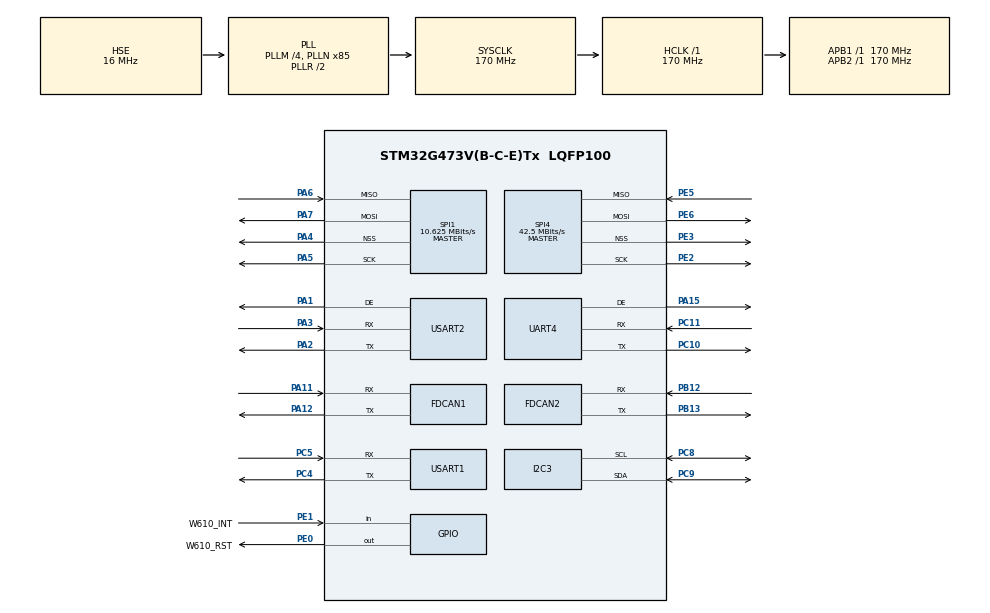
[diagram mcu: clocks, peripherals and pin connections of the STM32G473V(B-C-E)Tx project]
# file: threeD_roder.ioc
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FDCAN1.AutoRetransmission=ENABLE
FDCAN1.CalculateBaudRateNominal=499999
FDCAN1.CalculateTimeBitNominal=2000
FDCAN1.CalculateTimeQuantumNominal=117.64705882352942
FDCAN1.DataSyncJumpWidth=2
FDCAN1.NominalPrescaler=20
FDCAN1.NominalTimeSeg1=14
FDCAN1.NominalTimeSeg2=2
FDCAN2.AutoRetransmission=ENABLE
FDCAN2.CalculateBaudRateNominal=499999
FDCAN2.CalculateTimeBitNominal=2000
FDCAN2.CalculateTimeQuantumNominal=117.64705882352942
FDCAN2.NominalPrescaler=20
FDCAN2.NominalTimeSeg1=14
FDCAN2.NominalTimeSeg2=2
FREERTOS.Queues01=MotorQueue,4,uint16_t,0,Dynamic,NULL,NULL
FREERTOS.Tasks01=Event_Task,40,256,Start_Event_Task,Default,NULL,Dynamic,NULL,NULL;Motor_Task,32,512,Start_Motor_Task,Default,NULL,Dynamic,NULL,NULL;Comm_Task,24,1024,Start_Comm_Task,Default,NULL,Dynamic,NULL,NULL
FREERTOS.configTOTAL_HEAP_SIZE=20480
FREERTOS.configUSE_NEWLIB_REENTRANT=1
I2C3.Timing=0x40B285C2
Mcu.Family=STM32G4
Mcu.Name=STM32G473V(B-C-E)Tx
Mcu.Package=LQFP100
NVIC.FDCAN1_IT0_IRQn=true\:5\:0\:false\:false\:true\:true\:true\:true\:true
NVIC.FDCAN2_IT0_IRQn=true\:5\:0\:false\:false\:true\:true\:true\:true\:true
NVIC.PriorityGroup=NVIC_PRIORITYGROUP_4
NVIC.TIM6_DAC_IRQn=true\:15\:0\:false\:false\:true\:false\:false\:true\:true
NVIC.TimeBase=TIM6_DAC_IRQn
NVIC.TimeBaseIP=TIM6
PA1.Mode=Hardware Flow Control (RS485)
PA1.Signal=USART2_DE
PA11.Mode=FDCAN_Activate
PA11.Signal=FDCAN1_RX
PA12.Mode=FDCAN_Activate
PA12.Signal=FDCAN1_TX
PA13.Mode=Serial_Wire
PA13.Signal=SYS_JTMS-SWDIO
PA14.Mode=Serial_Wire
PA14.Signal=SYS_JTCK-SWCLK
PA15.Mode=Hardware Flow Control (RS485)
PA15.Signal=UART4_DE
PA2.Mode=Asynchronous
PA2.Signal=USART2_TX
PA3.Mode=Asynchronous
PA3.Signal=USART2_RX
PA4.GPIO_PuPd=GPIO_PULLUP
PA4.GPIO_Speed=GPIO_SPEED_FREQ_VERY_HIGH
PA4.Mode=NSS_Signal_Hard_Output
PA4.Signal=SPI1_NSS
PA5.GPIO_Speed=GPIO_SPEED_FREQ_VERY_HIGH
PA5.Mode=Full_Duplex_Master
PA5.Signal=SPI1_SCK
PA6.GPIO_Speed=GPIO_SPEED_FREQ_VERY_HIGH
PA6.Mode=Full_Duplex_Master
PA6.Signal=SPI1_MISO
PA7.GPIO_Speed=GPIO_SPEED_FREQ_VERY_HIGH
PA7.Mode=Full_Duplex_Master
PA7.Signal=SPI1_MOSI
PB12.Mode=FDCAN_Activate
PB12.Signal=FDCAN2_RX
PB13.Mode=FDCAN_Activate
PB13.Signal=FDCAN2_TX
PC10.Mode=Asynchronous
PC10.Signal=UART4_TX
PC11.Mode=Asynchronous
PC11.Signal=UART4_RX
PC4.Mode=Asynchronous
PC4.Signal=USART1_TX
PC5.Mode=Asynchronous
PC5.Signal=USART1_RX
PC8.Mode=I2C
PC8.Signal=I2C3_SCL
PC9.Mode=I2C
PC9.Signal=I2C3_SDA
PE0.GPIO_Label=W610_RST
PE0.PinState=GPIO_PIN_SET
PE0.Signal=GPIO_Output
PE1.GPIO_Label=W610_INT
PE1.Signal=GPIO_Input
PE2.GPIO_Speed=GPIO_SPEED_FREQ_VERY_HIGH
PE2.Mode=Full_Duplex_Master
PE2.Signal=SPI4_SCK
PE3.GPIO_PuPd=GPIO_PULLUP
PE3.GPIO_Speed=GPIO_SPEED_FREQ_VERY_HIGH
PE3.Mode=NSS_Signal_Hard_Output
PE3.Signal=SPI4_NSS
PE5.GPIO_Speed=GPIO_SPEED_FREQ_VERY_HIGH
PE5.Mode=Full_Duplex_Master
PE5.Signal=SPI4_MISO
PE6.GPIO_Speed=GPIO_SPEED_FREQ_VERY_HIGH
PE6.Mode=Full_Duplex_Master
PE6.Signal=SPI4_MOSI
PF0-OSC_IN.Mode=HSE-External-Oscillator
PF0-OSC_IN.Signal=RCC_OSC_IN
PF1-OSC_OUT.Mode=HSE-External-Oscillator
PF1-OSC_OUT.Signal=RCC_OSC_OUT
ProjectManager.HeapSize=0x200
ProjectManager.StackSize=0x400
ProjectManager.TargetToolchain=STM32CubeIDE
RCC.ADC12Freq_Value=170000000
RCC.ADC345Freq_Value=170000000
RCC.AHBFreq_Value=170000000
RCC.APB1Freq_Value=170000000
RCC.APB1TimFreq_Value=170000000
RCC.APB2Freq_Value=170000000
RCC.APB2TimFreq_Value=170000000
RCC.CortexFreq_Value=170000000
RCC.EXTERNAL_CLOCK_VALUE=12288000
RCC.HCLKFreq_Value=170000000
RCC.HSE_VALUE=16000000
RCC.HSI48_VALUE=48000000
RCC.HSI_VALUE=16000000
RCC.LSE_VALUE=32768
RCC.PLLM=RCC_PLLM_DIV4
RCC.PLLN=85
RCC.PLLSourceVirtual=RCC_PLLSOURCE_HSE
RCC.SYSCLKFreq_VALUE=170000000
RCC.SYSCLKSource=RCC_SYSCLKSOURCE_PLLCLK
RCC.USBFreq_Value=170000000
RCC.VCOOutputFreq_Value=340000000
SPI1.BaudRatePrescaler=SPI_BAUDRATEPRESCALER_16
SPI1.CalculateBaudRate=10.625 MBits/s
SPI1.DataSize=SPI_DATASIZE_8BIT
SPI1.Direction=SPI_DIRECTION_2LINES
SPI1.Mode=SPI_MODE_MASTER
SPI1.NSSPMode=SPI_NSS_PULSE_DISABLE
SPI1.VirtualNSS=VM_NSSHARD
SPI1.VirtualType=VM_MASTER
SPI4.BaudRatePrescaler=SPI_BAUDRATEPRESCALER_4
SPI4.CalculateBaudRate=42.5 MBits/s
SPI4.DataSize=SPI_DATASIZE_8BIT
SPI4.Direction=SPI_DIRECTION_2LINES
SPI4.Mode=SPI_MODE_MASTER
SPI4.NSSPMode=SPI_NSS_PULSE_DISABLE
SPI4.VirtualNSS=VM_NSSHARD
SPI4.VirtualType=VM_MASTER
USART1.VirtualMode-Asynchronous=VM_ASYNC
USART2.VirtualMode-Asynchronous=VM_ASYNC
USART2.VirtualMode-Hardware\ Flow\ Control\ (RS485)=VM_ASYNC
VP_FREERTOS_VS_CMSIS_V2.Mode=CMSIS_V2
VP_SYS_VS_DBSignals.Mode=DisableDeadBatterySignals
VP_SYS_VS_tim6.Mode=TIM6
board=custom

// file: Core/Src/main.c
/* USER CODE BEGIN Header */
/**
  ******************************************************************************
  * @file           : main.c
  * @brief          : Main program body
  ******************************************************************************
  * @attention
  *
  * Copyright (c) 2026 STMicroelectronics.
  * All rights reserved.
  *
  * This software is licensed under terms that can be found in the LICENSE file
  * in the root directory of this software component.
  * If no LICENSE file comes with this software, it is provided AS-IS.
  *
  ******************************************************************************
  */
/* USER CODE END Header */
#include "main.h"
#include "cmsis_os.h"
#include "fdcan.h"
#include "i2c.h"
#include "spi.h"
#include "usart.h"
#include "gpio.h"

void SystemClock_Config(void);
void MX_FREERTOS_Init(void);

int main(void)
{

  /* MCU Configuration--------------------------------------------------------*/

  /* Reset of all peripherals, Initializes the Flash interface and the Systick. */
  HAL_Init();

  /* Configure the system clock */
  SystemClock_Config();

  /* Initialize all configured peripherals */
  MX_GPIO_Init();
  MX_UART4_Init();
  MX_USART1_UART_Init();
  MX_FDCAN1_Init();
  MX_I2C3_Init();
  MX_SPI1_Init();
  MX_SPI4_Init();
  MX_USART2_UART_Init();
  MX_FDCAN2_Init();

  /* Init scheduler */
  osKernelInitialize();  /* Call init function for freertos objects (in cmsis_os2.c) */
  MX_FREERTOS_Init();

  /* Start scheduler */
  osKernelStart();

  /* We should never get here as control is now taken by the scheduler */

  /* Infinite loop */
  while (1)
  {

  }
}

void SystemClock_Config(void)
{
  RCC_OscInitTypeDef RCC_OscInitStruct = {0};
  RCC_ClkInitTypeDef RCC_ClkInitStruct = {0};

  /** Configure the main internal regulator output voltage
  */
  HAL_PWREx_ControlVoltageScaling(PWR_REGULATOR_VOLTAGE_SCALE1_BOOST);

  /** Initializes the RCC Oscillators according to the specified parameters
  * in the RCC_OscInitTypeDef structure.
  */
  RCC_OscInitStruct.OscillatorType = RCC_OSCILLATORTYPE_HSE;
  RCC_OscInitStruct.HSEState = RCC_HSE_ON;
  RCC_OscInitStruct.PLL.PLLState = RCC_PLL_ON;
  RCC_OscInitStruct.PLL.PLLSource = RCC_PLLSOURCE_HSE;
  RCC_OscInitStruct.PLL.PLLM = RCC_PLLM_DIV4;
  RCC_OscInitStruct.PLL.PLLN = 85;
  RCC_OscInitStruct.PLL.PLLP = RCC_PLLP_DIV2;
  RCC_OscInitStruct.PLL.PLLQ = RCC_PLLQ_DIV2;
  RCC_OscInitStruct.PLL.PLLR = RCC_PLLR_DIV2;
  if (HAL_RCC_OscConfig(&RCC_OscInitStruct) != HAL_OK)
  {
    Error_Handler();
  }

  /** Initializes the CPU, AHB and APB buses clocks
  */
  RCC_ClkInitStruct.ClockType = RCC_CLOCKTYPE_HCLK|RCC_CLOCKTYPE_SYSCLK
                              |RCC_CLOCKTYPE_PCLK1|RCC_CLOCKTYPE_PCLK2;
  RCC_ClkInitStruct.SYSCLKSource = RCC_SYSCLKSOURCE_PLLCLK;
  RCC_ClkInitStruct.AHBCLKDivider = RCC_SYSCLK_DIV1;
  RCC_ClkInitStruct.APB1CLKDivider = RCC_HCLK_DIV1;
  RCC_ClkInitStruct.APB2CLKDivider = RCC_HCLK_DIV1;

  if (HAL_RCC_ClockConfig(&RCC_ClkInitStruct, FLASH_LATENCY_4) != HAL_OK)
  {
    Error_Handler();
  }
}

void HAL_TIM_PeriodElapsedCallback(TIM_HandleTypeDef *htim)
{
  if (htim->Instance == TIM6)
  {
    HAL_IncTick();
  }
}

void Error_Handler(void)
{
  __disable_irq();
  while (1)
  {
  }
}

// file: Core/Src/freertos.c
/* USER CODE BEGIN Header */
/**
  ******************************************************************************
  * File Name          : freertos.c
  * Description        : Code for freertos applications
  ******************************************************************************
  * @attention
  *
  * Copyright (c) 2026 STMicroelectronics.
  * All rights reserved.
  *
  * This software is licensed under terms that can be found in the LICENSE file
  * in the root directory of this software component.
  * If no LICENSE file comes with this software, it is provided AS-IS.
  *
  ******************************************************************************
  */
/* USER CODE END Header */

#include "FreeRTOS.h"
#include "task.h"
#include "main.h"
#include "cmsis_os.h"

/* USER CODE BEGIN Includes */
#include "net.h"
#include "rfid.h"
#include "can.h"
/* USER CODE END Includes */

/* Definitions for MOTOR_Task */
osThreadId_t MOTOR_TaskHandle;
const osThreadAttr_t MOTOR_Task_attributes = {
  .name = "MOTOR_Task",
  .stack_size = 1024 * 4,
  .priority = (osPriority_t) osPriorityAboveNormal,
};
/* Definitions for NET_Task */
osThreadId_t NET_TaskHandle;
const osThreadAttr_t NET_Task_attributes = {
  .name = "NET_Task",
  .stack_size = 1024 * 4,
  .priority = (osPriority_t) osPriorityNormal,
};
/* Definitions for RFID */
osThreadId_t RFIDHandle;
const osThreadAttr_t RFID_attributes = {
  .name = "RFID",
  .stack_size = 1024 * 4,
  .priority = (osPriority_t) osPriorityNormal,
};
/* Definitions for TCPQueue */
osMessageQueueId_t TCPQueueHandle;
const osMessageQueueAttr_t TCPQueue_attributes = {
  .name = "TCPQueue"
};
/* Definitions for TCPMutex */
osMutexId_t TCPMutexHandle;
const osMutexAttr_t TCPMutex_attributes = {
  .name = "TCPMutex"
};

void StartMOTOR_Task(void *argument);
void StartNET_Task(void *argument);
void StartRFID_Task(void *argument);

void MX_FREERTOS_Init(void); /* (MISRA C 2004 rule 8.1) */

void MX_FREERTOS_Init(void) {
  /* Create the mutex(es) */
  /* creation of TCPMutex */
  TCPMutexHandle = osMutexNew(&TCPMutex_attributes);

  /* Create the queue(s) */
  /* creation of TCPQueue */
  TCPQueueHandle = osMessageQueueNew (512, sizeof(uint8_t), &TCPQueue_attributes);

  /* USER CODE BEGIN RTOS_QUEUES */
  /* add queues, ... */
	CAN1_Start();
  /* USER CODE END RTOS_QUEUES */

  /* Create the thread(s) */
  /* creation of MOTOR_Task */
  MOTOR_TaskHandle = osThreadNew(StartMOTOR_Task, NULL, &MOTOR_Task_attributes);

  /* creation of NET_Task */
  NET_TaskHandle = osThreadNew(StartNET_Task, NULL, &NET_Task_attributes);

  /* creation of RFID */
  RFIDHandle = osThreadNew(StartRFID_Task, NULL, &RFID_attributes);

}

void StartMOTOR_Task(void *argument)
{
  /* USER CODE BEGIN StartMOTOR_Task */
  MOTOR_TaskRun(argument);
  /* USER CODE END StartMOTOR_Task */
}

void StartNET_Task(void *argument)
{
  /* USER CODE BEGIN StartNET_Task */
  /* Infinite loop */
	TM_TaskRun(argument);
  /* USER CODE END StartNET_Task */
}

void StartRFID_Task(void *argument)
{
  /* USER CODE BEGIN StartRFID_Task */
  /* Infinite loop */
	 Rfid_Run();
  /* USER CODE END StartRFID_Task */
}

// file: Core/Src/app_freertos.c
/* USER CODE BEGIN Header */
/**
  ******************************************************************************
  * File Name          : app_freertos.c
  * Description        : Code for freertos applications
  ******************************************************************************
  * @attention
  *
  * Copyright (c) 2026 STMicroelectronics.
  * All rights reserved.
  *
  * This software is licensed under terms that can be found in the LICENSE file
  * in the root directory of this software component.
  * If no LICENSE file comes with this software, it is provided AS-IS.
  *
  ******************************************************************************
  */
/* USER CODE END Header */

#include "FreeRTOS.h"
#include "task.h"
#include "main.h"
#include "cmsis_os.h"

/* USER CODE BEGIN Includes */
#include "run.h"
#include "cli.h"
#include "net.h"
#include "fram.h"
#include "save.h"
#include "hmi.h"
/* USER CODE END Includes */

/* Definitions for Event_Task */
osThreadId_t Event_TaskHandle;
const osThreadAttr_t Event_Task_attributes = {
  .name = "Event_Task",
  .priority = (osPriority_t) osPriorityHigh,
  .stack_size = 256 * 4
};
/* Definitions for Motor_Task */
osThreadId_t Motor_TaskHandle;
const osThreadAttr_t Motor_Task_attributes = {
  .name = "Motor_Task",
  .priority = (osPriority_t) osPriorityAboveNormal,
  .stack_size = 512 * 4
};
/* Definitions for Comm_Task */
osThreadId_t Comm_TaskHandle;
const osThreadAttr_t Comm_Task_attributes = {
  .name = "Comm_Task",
  .priority = (osPriority_t) osPriorityNormal,
  .stack_size = 1024 * 4
};
/* Definitions for MotorQueue */
osMessageQueueId_t MotorQueueHandle;
const osMessageQueueAttr_t MotorQueue_attributes = {
  .name = "MotorQueue"
};

void Start_Event_Task(void *argument);
void Start_Motor_Task(void *argument);
void Start_Comm_Task(void *argument);

void MX_FREERTOS_Init(void); /* (MISRA C 2004 rule 8.1) */

void MX_FREERTOS_Init(void) {

  /* Create the queue(s) */
  /* creation of MotorQueue */
  MotorQueueHandle = osMessageQueueNew (4, sizeof(uint16_t), &MotorQueue_attributes);

  /* USER CODE BEGIN RTOS_QUEUES */
  MotorQueueHandle = osMessageQueueNew(4, sizeof(MotorCommand), NULL);
  /* USER CODE END RTOS_QUEUES */

  /* Create the thread(s) */
  /* creation of Event_Task */
  Event_TaskHandle = osThreadNew(Start_Event_Task, NULL, &Event_Task_attributes);

  /* creation of Motor_Task */
  Motor_TaskHandle = osThreadNew(Start_Motor_Task, NULL, &Motor_Task_attributes);

  /* creation of Comm_Task */
  Comm_TaskHandle = osThreadNew(Start_Comm_Task, NULL, &Comm_Task_attributes);

}

void Start_Event_Task(void *argument)
{
  /* USER CODE BEGIN Start_Event_Task */
  for(;;)
  { // HMI_Run();
    osDelay(500);
  }
  /* USER CODE END Start_Event_Task */
}

void Start_Motor_Task(void *argument)
{
  /* USER CODE BEGIN Start_Motor_Task */
    Motor_Run();

  /* USER CODE END Start_Motor_Task */
}

void Start_Comm_Task(void *argument)
{
  /* USER CODE BEGIN Start_Comm_Task */

	Save_Init();
	NET_Init();
    for (;;)
    {
        CLI_Run();
        NET_Run();

        osDelay(1);
    }

  /* USER CODE END Start_Comm_Task */
}
